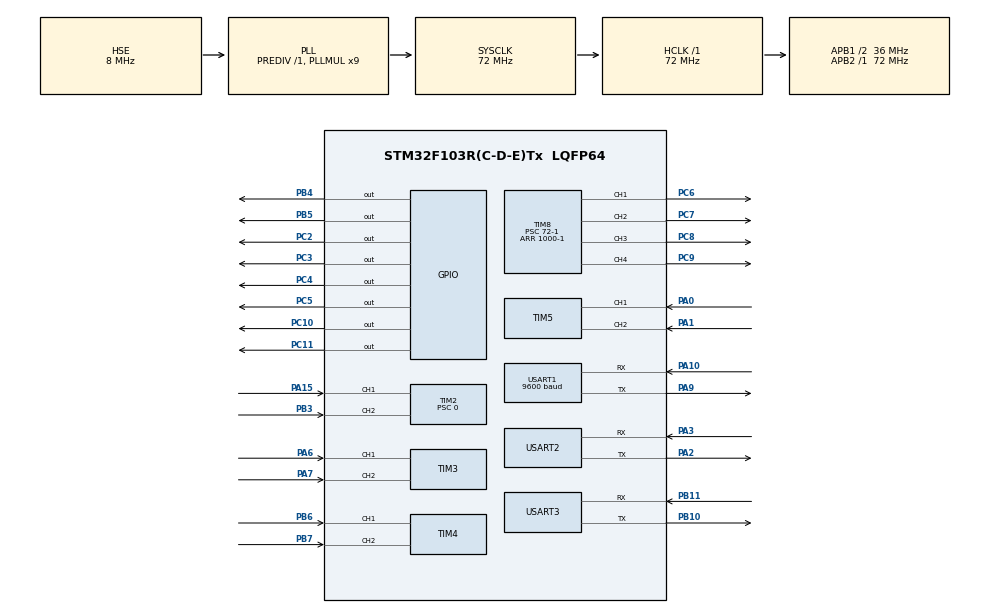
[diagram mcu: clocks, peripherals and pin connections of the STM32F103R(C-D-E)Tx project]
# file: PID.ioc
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Dma.Request0=USART2_RX
Dma.Request1=USART3_RX
Dma.USART2_RX.0.Direction=DMA_PERIPH_TO_MEMORY
Dma.USART2_RX.0.Instance=DMA1_Channel6
Dma.USART2_RX.0.MemDataAlignment=DMA_MDATAALIGN_BYTE
Dma.USART2_RX.0.MemInc=DMA_MINC_ENABLE
Dma.USART2_RX.0.Mode=DMA_NORMAL
Dma.USART2_RX.0.PeriphDataAlignment=DMA_PDATAALIGN_BYTE
Dma.USART2_RX.0.PeriphInc=DMA_PINC_DISABLE
Dma.USART2_RX.0.Priority=DMA_PRIORITY_LOW
Dma.USART3_RX.1.Direction=DMA_PERIPH_TO_MEMORY
Dma.USART3_RX.1.Instance=DMA1_Channel3
Dma.USART3_RX.1.MemDataAlignment=DMA_MDATAALIGN_BYTE
Dma.USART3_RX.1.MemInc=DMA_MINC_ENABLE
Dma.USART3_RX.1.Mode=DMA_NORMAL
Dma.USART3_RX.1.PeriphDataAlignment=DMA_PDATAALIGN_BYTE
Dma.USART3_RX.1.PeriphInc=DMA_PINC_DISABLE
Dma.USART3_RX.1.Priority=DMA_PRIORITY_LOW
Mcu.Family=STM32F1
Mcu.Name=STM32F103R(C-D-E)Tx
Mcu.Package=LQFP64
NVIC.DMA1_Channel3_IRQn=true\:0\:0\:false\:false\:true\:false\:true\:true
NVIC.DMA1_Channel6_IRQn=true\:0\:0\:false\:false\:true\:false\:true\:true
NVIC.PriorityGroup=NVIC_PRIORITYGROUP_4
NVIC.TIM1_UP_IRQn=true\:0\:0\:false\:false\:true\:true\:true\:true
NVIC.USART2_IRQn=true\:0\:0\:false\:false\:true\:true\:true\:true
NVIC.USART3_IRQn=true\:0\:0\:false\:false\:true\:true\:true\:true
PA0-WKUP.Signal=S_TIM5_CH1
PA1.Signal=S_TIM5_CH2
PA10.Mode=Asynchronous
PA10.Signal=USART1_RX
PA13.Mode=Serial_Wire
PA13.Signal=SYS_JTMS-SWDIO
PA14.Mode=Serial_Wire
PA14.Signal=SYS_JTCK-SWCLK
PA15.Signal=S_TIM2_CH1_ETR
PA2.Mode=Asynchronous
PA2.Signal=USART2_TX
PA3.Mode=Asynchronous
PA3.Signal=USART2_RX
PA6.Signal=S_TIM3_CH1
PA7.Signal=S_TIM3_CH2
PA9.Mode=Asynchronous
PA9.Signal=USART1_TX
PB10.Mode=Asynchronous
PB10.Signal=USART3_TX
PB11.Mode=Asynchronous
PB11.Signal=USART3_RX
PB3.Signal=S_TIM2_CH2
PB4.Signal=GPIO_Output
PB5.Signal=GPIO_Output
PB6.Signal=S_TIM4_CH1
PB7.Signal=S_TIM4_CH2
PC10.Signal=GPIO_Output
PC11.Signal=GPIO_Output
PC2.Signal=GPIO_Output
PC3.Signal=GPIO_Output
PC4.Signal=GPIO_Output
PC5.Signal=GPIO_Output
PC6.Signal=S_TIM8_CH1
PC7.Signal=S_TIM8_CH2
PC8.Signal=S_TIM8_CH3
PC9.Signal=S_TIM8_CH4
PD0-OSC_IN.Mode=HSE-External-Oscillator
PD0-OSC_IN.Signal=RCC_OSC_IN
PD1-OSC_OUT.Mode=HSE-External-Oscillator
PD1-OSC_OUT.Signal=RCC_OSC_OUT
ProjectManager.HeapSize=0x200
ProjectManager.StackSize=0x400
ProjectManager.TargetToolchain=Makefile
RCC.AHBFreq_Value=72000000
RCC.APB1CLKDivider=RCC_HCLK_DIV2
RCC.APB1Freq_Value=36000000
RCC.APB1TimFreq_Value=72000000
RCC.APB2Freq_Value=72000000
RCC.APB2TimFreq_Value=72000000
RCC.HCLKFreq_Value=72000000
RCC.PLLMUL=RCC_PLL_MUL9
RCC.PLLSourceVirtual=RCC_PLLSOURCE_HSE
RCC.SYSCLKFreq_VALUE=72000000
RCC.SYSCLKSource=RCC_SYSCLKSOURCE_PLLCLK
RCC.USBFreq_Value=72000000
SH.S_TIM2_CH1_ETR.0=TIM2_CH1,Encoder_Interface
SH.S_TIM2_CH2.0=TIM2_CH2,Encoder_Interface
SH.S_TIM3_CH1.0=TIM3_CH1,Encoder_Interface
SH.S_TIM3_CH2.0=TIM3_CH2,Encoder_Interface
SH.S_TIM4_CH1.0=TIM4_CH1,Encoder_Interface
SH.S_TIM4_CH2.0=TIM4_CH2,Encoder_Interface
SH.S_TIM5_CH1.0=TIM5_CH1,Encoder_Interface
SH.S_TIM5_CH2.0=TIM5_CH2,Encoder_Interface
SH.S_TIM8_CH1.0=TIM8_CH1,PWM Generation1 CH1
SH.S_TIM8_CH2.0=TIM8_CH2,PWM Generation2 CH2
SH.S_TIM8_CH3.0=TIM8_CH3,PWM Generation3 CH3
SH.S_TIM8_CH4.0=TIM8_CH4,PWM Generation4 CH4
TIM1.Period=1000-1
TIM1.Prescaler=72-1
TIM2.EncoderMode=TIM_ENCODERMODE_TI12
TIM2.Period=65535
TIM2.Prescaler=0
TIM3.EncoderMode=TIM_ENCODERMODE_TI12
TIM4.EncoderMode=TIM_ENCODERMODE_TI12
TIM5.EncoderMode=TIM_ENCODERMODE_TI12
TIM8.Channel-PWM\ Generation1\ CH1=TIM_CHANNEL_1
TIM8.Channel-PWM\ Generation2\ CH2=TIM_CHANNEL_2
TIM8.Channel-PWM\ Generation3\ CH3=TIM_CHANNEL_3
TIM8.Channel-PWM\ Generation4\ CH4=TIM_CHANNEL_4
TIM8.Period=1000-1
TIM8.Prescaler=72-1
USART1.BaudRate=9600
USART1.VirtualMode=VM_ASYNC
USART2.VirtualMode=VM_ASYNC
USART3.VirtualMode=VM_ASYNC
VP_TIM1_VS_ClockSourceINT.Mode=Internal
VP_TIM8_VS_ClockSourceINT.Mode=Internal
board=custom

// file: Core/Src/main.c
/* USER CODE BEGIN Header */
/**
  ******************************************************************************
  * @file           : main.c
  * @brief          : Main program body
  ******************************************************************************
  * @attention
  *
  * Copyright (c) 2022 STMicroelectronics.
  * All rights reserved.
  *
  * This software is licensed under terms that can be found in the LICENSE file
  * in the root directory of this software component.
  * If no LICENSE file comes with this software, it is provided AS-IS.
  *
  ******************************************************************************
  */
/* USER CODE END Header */
#include "main.h"
#include "dma.h"
#include "tim.h"
#include "usart.h"
#include "gpio.h"

/* USER CODE BEGIN Includes */
#include "jy62.h"
#include "zigbee_edc24.h"
#include <math.h>
/* USER CODE END Includes */

void SystemClock_Config(void);

/* USER CODE BEGIN 0 */
#define PID_MAX 1000//改成自己设定的PWM波的单波�??????长输出时�??????
#define PID_MIN -1000//改成自己设定的PWM波的单波�??????长输出时间的相反�??????
typedef struct{
  float sum;//时间的积�??????
  float lr;//上一次的速度
  float Kp;
  float Ki;
  float Kd;
  float goal;
}pidstr;
pidstr p1,p2,p3,p4;
float PID(pidstr *a,float ver)
{
  float dr = a->goal - ver;
  a->sum = a->sum + dr;
  float pwm = a->Kp * dr + a->Ki * a->sum + a->Kd * (dr - a->lr);
  a->lr = dr;
  if(pwm >= PID_MAX) return PID_MAX;
  if(pwm <= PID_MIN) return PID_MIN;
  return pwm;
}
const float pi = 3.1415926;
float Theta, V , delta = 0;
void SetGoal(float theta, float v){
  Theta = theta, V = v;
}
void ReSetGoal(float theta, float v){//theta is rad.
  float yaw = (GetYaw() + delta)/180*pi;
  float vy = v*cos(yaw - theta), vx = v*sin(yaw - theta);
  p1.goal = vy + vx;
  p2.goal = vy - vx;
  p3.goal = vy - vx;
  p4.goal = vy + vx;
}
void HAL_TIM_PeriodElapsedCallback(TIM_HandleTypeDef *htim){
  if(htim->Instance == htim1.Instance){ //TIM1: �????1ms调整�????次输�????
    //我定义的编码器：TIM2,3,4,5，对应pwm chanel 1,2,3,4
    ReSetGoal(Theta, V);
    int cnt;
    float ver, pwm;
    static int cc = 0; cc++;

    cnt = __HAL_TIM_GetCounter(&htim2);
    if(cnt>1<<15) cnt-=(1<<16);
    __HAL_TIM_SetCounter(&htim2, 0);
    ver = cnt*6.5*pi; // ver cm/s
    pwm = PID(&p1, ver);
    if(pwm<0){
      HAL_GPIO_WritePin(GPIOC, GPIO_PIN_10, GPIO_PIN_SET);
      HAL_GPIO_WritePin(GPIOC, GPIO_PIN_11, GPIO_PIN_RESET);
      pwm=-pwm;
    }
    else{
      HAL_GPIO_WritePin(GPIOC, GPIO_PIN_10, GPIO_PIN_RESET);
      HAL_GPIO_WritePin(GPIOC, GPIO_PIN_11, GPIO_PIN_SET);
    }
    __HAL_TIM_SetCompare(&htim8,TIM_CHANNEL_1, pwm);

    cnt = __HAL_TIM_GetCounter(&htim3);
    if(cnt>1<<15) cnt-=(1<<16);
    __HAL_TIM_SetCounter(&htim3, 0);
    ver = cnt*6.5*pi; // ver cm/s
    pwm = PID(&p2, ver);

    if(pwm<0){
      HAL_GPIO_WritePin(GPIOC, GPIO_PIN_4, GPIO_PIN_SET);
      HAL_GPIO_WritePin(GPIOC, GPIO_PIN_5, GPIO_PIN_RESET);
      pwm=-pwm;
    }
    else{
      HAL_GPIO_WritePin(GPIOC, GPIO_PIN_4, GPIO_PIN_RESET);
      HAL_GPIO_WritePin(GPIOC, GPIO_PIN_5, GPIO_PIN_SET);
    }
    __HAL_TIM_SetCompare(&htim8,TIM_CHANNEL_2, pwm);

    cnt = __HAL_TIM_GetCounter(&htim4);
    if(cnt>1<<15) cnt-=(1<<16);
    __HAL_TIM_SetCounter(&htim4, 0);
    ver = cnt*6.5*pi; // ver cm/s
    pwm = PID(&p3, ver);
    if(pwm<0){
      HAL_GPIO_WritePin(GPIOB, GPIO_PIN_4, GPIO_PIN_SET);
      HAL_GPIO_WritePin(GPIOB, GPIO_PIN_5, GPIO_PIN_RESET);
      pwm=-pwm;
    }
    else{
      HAL_GPIO_WritePin(GPIOB, GPIO_PIN_4, GPIO_PIN_RESET);
      HAL_GPIO_WritePin(GPIOB, GPIO_PIN_5, GPIO_PIN_SET);
    }
    __HAL_TIM_SetCompare(&htim8,TIM_CHANNEL_3, pwm);

    cnt = __HAL_TIM_GetCounter(&htim5);
    if(cnt>1<<15) cnt-=(1<<16);
    __HAL_TIM_SetCounter(&htim5, 0);
    ver = cnt*6.5*pi; // ver cm/s
    pwm = PID(&p4, ver);
    if(pwm<0){
      HAL_GPIO_WritePin(GPIOC, GPIO_PIN_2, GPIO_PIN_SET);
      HAL_GPIO_WritePin(GPIOC, GPIO_PIN_3, GPIO_PIN_RESET);
      pwm=-pwm;
    }
    else{
      HAL_GPIO_WritePin(GPIOC, GPIO_PIN_2, GPIO_PIN_RESET);
      HAL_GPIO_WritePin(GPIOC, GPIO_PIN_3, GPIO_PIN_SET);
    }
    __HAL_TIM_SetCompare(&htim8,TIM_CHANNEL_4, pwm);
  }
}

void jy62_Init(UART_HandleTypeDef* huart);

#define N 12

Position_edc24 GetPosition(int16_t x, int16_t y){
  Position_edc24 pos = {x,y};
  return pos;
}
int cnt_order = 0, tot_order = 0;
Order_edc24 orders[100], history_orders[1000];
_Bool del_order[1000]; // some id deleted or not.
Position_edc24 ulti_goal = {126 , 126} , centerpos = {126, 126};
Position_edc24 candidate[100];
int candidate_type[100] , candidate_id[100];
int candidate_dis[100], getTime[100];

Position_edc24 P[N] = {{20,20} , {126 , 20} , {236 , 20}
, {20 , 126} , {236 , 126}
, {20 , 236} , {126 , 236} , {236 , 236}
, {126 , 60} , {196 , 126} , {126 , 196} , {60 , 126}};

#define INF 0x3f3f3f3f
#define Velocity 30
double param = Velocity/1000.0;
int abs(int x){return x>=0?x:-x;}
int max(int a,int b){return a>b?a:b;}
int min(int a,int b){return a<b?a:b;}
int sqr(int x){return x*x;}

int calc_euclid2(Position_edc24 a, Position_edc24 b){
  return (a.x-b.x)*(a.x-b.x) + (a.y-b.y)*(a.y-b.y);
}
int Touch(Position_edc24 a, Position_edc24 b){
  return (a.x-b.x)*(a.x-b.x) + (a.y-b.y)*(a.y-b.y) <= 64;
}
void delete_orderbyid(int id){
  for(int i=0;i<cnt_order;i++)
    if(orders[i].orderId == id){
      u1_printf("id: %d  i: %d\n",id, i);
      for(int j=i;j<cnt_order-1;j++)
        orders[j] = orders[j+1];
      cnt_order--;
      break;
    }
}
void InterAct(){
  Order_edc24 new_order = getLatestPendingOrder();
  // hidden problem: orderId maybe 0.
  if(new_order.orderId>0 && history_orders[new_order.orderId].orderId == 0){
    orders[cnt_order ++] = new_order;
    // u1_printf("++ %d\n", new_order.orderId);
    history_orders[new_order.orderId] = new_order;
  }
  for(int i=0,lim=getOrderNum();i<lim;i++){
    int id = getOneOrder(i).orderId;
    if(!del_order[id] || history_orders[id].orderId != id){//后者判断可能没收到信息但是拿到了
      getTime[id] = getGameTime();
      del_order[id]=1;
      if(history_orders[id].orderId != id) history_orders[id] = getOneOrder(i);
      else delete_orderbyid(id);
    }
  }
}

void Solve1(){
  static int is_mapped = 0, tarid = -1;
  if(!is_mapped){
    is_mapped = 1;

    orders[cnt_order].depPos = GetPosition(39,126) ,  orders[cnt_order].desPos = GetPosition(40,126);
    orders[cnt_order].commission = 100;orders[cnt_order].timeLimit = 100;
    orders[cnt_order].orderId = -330;

    cnt_order ++;
    orders[cnt_order].depPos = GetPosition(215,126);orders[cnt_order].desPos = GetPosition(214,126);
    orders[cnt_order].commission = 100;orders[cnt_order].timeLimit = 100;
    orders[cnt_order].orderId = -331;

    cnt_order ++;
    orders[cnt_order].depPos  = GetPosition(126,39); orders[cnt_order].desPos = GetPosition(126,40);
    orders[cnt_order].commission = 100;orders[cnt_order].timeLimit = 100;
    orders[cnt_order].orderId = -332;

    cnt_order ++;
  }

  Position_edc24 now = getVehiclePos();

  if(Touch(now, ulti_goal)){ // setChargingPile
    if(tarid <= -300){
      delete_orderbyid(tarid);
      for(int i=1;i<=3;i++) setChargingPile(),HAL_Delay(10);
    }
  }

  int ordernum = getOrderNum();
  //get a new ulti_goal
  int cnt_candidate = 0;
  int mx_commission = -0x3f3f3f3f , mxloc = -1;
  for(int i=0;i<cnt_order;i++)
  {
    candidate[cnt_candidate] = orders[i].depPos;
    candidate_dis[cnt_candidate] = calc_euclid2(orders[i].depPos , now);
    candidate_id[cnt_candidate] = orders[i].orderId;
    candidate_type[cnt_candidate++] = (orders[i].orderId == -333 ? 1 : 0); // 特判充电桩
    if(orders[i].commission > mx_commission)
      mx_commission = orders[i].commission,
      mxloc = cnt_candidate - 1;
  }

  int mn_restime = 0x3f3f3f3f , mnloc = -1;
  for(int i=0;i<ordernum;i++){
    int id = getOneOrder(i).orderId;
    candidate[cnt_candidate] = getOneOrder(i).desPos;
    candidate_id[cnt_candidate] = -1;
    candidate_dis[cnt_candidate] = calc_euclid2(candidate[cnt_candidate] , now);
    candidate_type[cnt_candidate++] = 1;
    if(history_orders[id].orderId == id && history_orders[id].timeLimit - (getGameTime() - getTime[id]) < mn_restime)
      mn_restime = history_orders[id].timeLimit - (getGameTime() - getTime[id]),
      mnloc = cnt_candidate - 1;
  }

  int tarloc = -1;
  if(mn_restime < 10000 || ordernum == 5 || mxloc == -1)// 有马上就要过期的快递 或者 目前拿的快递满了 或者没有要拿的快递
    tarloc = mnloc;
  else
    tarloc = mxloc;
  if(tarloc != -1){ // 有目标
    float tolerence = 1.0 , mndis = candidate_dis[tarloc];
    mnloc = tarloc;
    for(int i=0;i<cnt_candidate;i++)
      if((ordernum < 5 || candidate_type[i]) && sqr(candidate_dis[tarloc]) * tolerence >= sqr(candidate_dis[i]) + sqr(calc_euclid2(candidate[i] , candidate[tarloc]))){
        if(candidate_dis[i] < mndis){
          mndis = candidate_dis[i] ;
            mnloc = i;
        }
      }
    tarid = candidate_id[mnloc];
    ulti_goal = candidate[mnloc];
  }
  else ulti_goal = centerpos;

  SetGoal(-atan2(ulti_goal.y - now.y, ulti_goal.x - now.x) , 30);
  static int cc = 0;
  if(cc++ % 10 == 0){
    //u1_printf("(%d,%d) (%d,%d)\n",now.x, now.y, ulti_goal.x, ulti_goal.y);
    //u1_printf("%d %d %d %d %d\n",del_order[0], del_order[1], del_order[2], del_order[3], del_order[4]);
  }
}
void Solve2(){

}
/* USER CODE END 0 */

int main(void)
{
  /* USER CODE BEGIN 1 */
  // Bug May hidden:
  // 1. chargingPile not set completely.
  //
  /* USER CODE END 1 */

  /* MCU Configuration--------------------------------------------------------*/

  /* Reset of all peripherals, Initializes the Flash interface and the Systick. */
  HAL_Init();

  /* Configure the system clock */
  SystemClock_Config();

  /* Initialize all configured peripherals */
  MX_GPIO_Init();
  MX_DMA_Init();
  MX_TIM1_Init();
  MX_TIM2_Init();
  MX_TIM3_Init();
  MX_TIM4_Init();
  MX_TIM5_Init();
  MX_TIM8_Init();
  MX_USART3_UART_Init();
  MX_USART2_UART_Init();
  MX_USART1_UART_Init();
  /* USER CODE BEGIN 2 */

  jy62_Init(&huart2);
  HAL_TIM_Base_Start_IT(&htim1); //使能定时器TIM1
  HAL_TIM_PWM_Start(&htim8, TIM_CHANNEL_1); //使能定时器TIM8的四个�?�道为PWM输出
  HAL_TIM_PWM_Start(&htim8, TIM_CHANNEL_2);
  HAL_TIM_PWM_Start(&htim8, TIM_CHANNEL_3);
  HAL_TIM_PWM_Start(&htim8, TIM_CHANNEL_4);
  HAL_TIM_Encoder_Start(&htim2, TIM_CHANNEL_ALL); //使能四个编码�????
  HAL_TIM_Encoder_Start(&htim3, TIM_CHANNEL_ALL);
  HAL_TIM_Encoder_Start(&htim4, TIM_CHANNEL_ALL);
  HAL_TIM_Encoder_Start(&htim5, TIM_CHANNEL_ALL);
  const float ratio = 1;
  const float KP1 = 0.7, KI1 = 1, KD1 = 10;
  const float KP2 = KP1/ratio, KI2 = KI1/ratio, KD2 = KD1/ratio;
  p1.Kp=KP1, p1.Ki=KI1, p1.Kd=KD1;
  p2.Kp=KP1, p2.Ki=KI2, p2.Kd=KD2;
  p3.Kp=KP2, p3.Ki=KI2, p3.Kd=KD2;
  p4.Kp=KP1, p4.Ki=KI1, p4.Kd=KD1;

  zigbee_Init(&huart3);
  SetBaud(115200);
  SetHorizontal();
  InitAngle();
  Calibrate();
  SleepOrAwake();
  /* USER CODE END 2 */

  /* Infinite loop */
  /* USER CODE BEGIN WHILE */
  /* USER CODE BEGIN WHILE */
  int STAGE = 0;
  while (1)
  {
    if(receive_flag)
    {
      zigbeeMessageRecord();
      if(!STAGE){
        int stage = getGameStage();
        if(stage == Prematch) {
          reqGameInfo();
          continue;
        }
        STAGE = stage;
      }
      InterAct();
      if(STAGE == FirstHalf){
        Solve1();
      }
      else if(STAGE == SecondHalf)
        Solve2();
    }
    /* USER CODE END WHILE */
  }
}

void SystemClock_Config(void)
{
  RCC_OscInitTypeDef RCC_OscInitStruct = {0};
  RCC_ClkInitTypeDef RCC_ClkInitStruct = {0};

  /** Initializes the RCC Oscillators according to the specified parameters
  * in the RCC_OscInitTypeDef structure.
  */
  RCC_OscInitStruct.OscillatorType = RCC_OSCILLATORTYPE_HSE;
  RCC_OscInitStruct.HSEState = RCC_HSE_ON;
  RCC_OscInitStruct.HSEPredivValue = RCC_HSE_PREDIV_DIV1;
  RCC_OscInitStruct.HSIState = RCC_HSI_ON;
  RCC_OscInitStruct.PLL.PLLState = RCC_PLL_ON;
  RCC_OscInitStruct.PLL.PLLSource = RCC_PLLSOURCE_HSE;
  RCC_OscInitStruct.PLL.PLLMUL = RCC_PLL_MUL9;
  if (HAL_RCC_OscConfig(&RCC_OscInitStruct) != HAL_OK)
  {
    Error_Handler();
  }

  /** Initializes the CPU, AHB and APB buses clocks
  */
  RCC_ClkInitStruct.ClockType = RCC_CLOCKTYPE_HCLK|RCC_CLOCKTYPE_SYSCLK
                              |RCC_CLOCKTYPE_PCLK1|RCC_CLOCKTYPE_PCLK2;
  RCC_ClkInitStruct.SYSCLKSource = RCC_SYSCLKSOURCE_PLLCLK;
  RCC_ClkInitStruct.AHBCLKDivider = RCC_SYSCLK_DIV1;
  RCC_ClkInitStruct.APB1CLKDivider = RCC_HCLK_DIV2;
  RCC_ClkInitStruct.APB2CLKDivider = RCC_HCLK_DIV1;

  if (HAL_RCC_ClockConfig(&RCC_ClkInitStruct, FLASH_LATENCY_2) != HAL_OK)
  {
    Error_Handler();
  }
}

void Error_Handler(void)
{
  __disable_irq();
  while (1)
  {
  }
}
